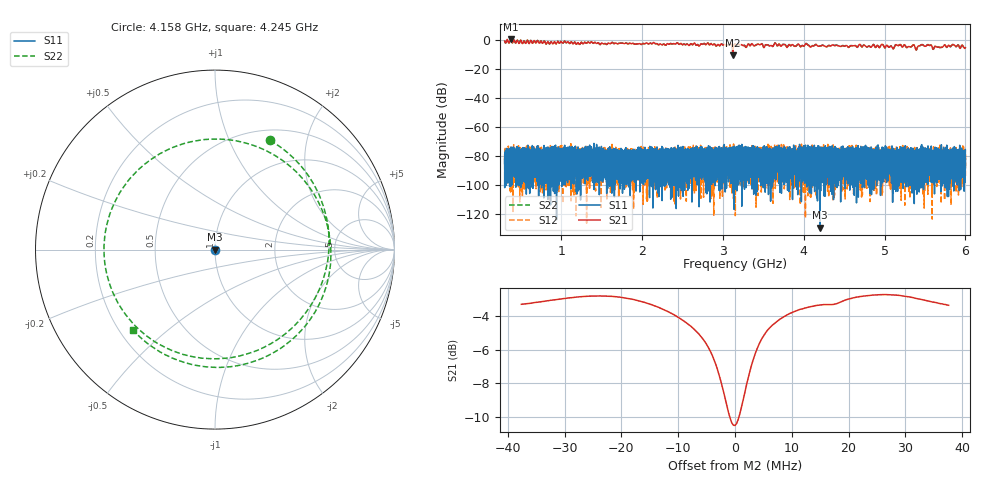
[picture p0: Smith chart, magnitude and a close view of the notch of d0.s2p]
!Agilent Technologies,N5230C,SG49000117,A.08.50.07
!Agilent N5230C: A.08.50.07
!Date: Sunday, March 17, 2024 02:16:47
!Correction: S11(Off)
!S21(Off)
!S12(Off)
!S22(Off)
!S2P File: Measurements: S11, S21, S12, S22:
# Hz S  RI  R 50
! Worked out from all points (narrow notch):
!   20001 points, 300 MHz to 6 GHz, reference 50 ohm
!   highest |S21| = 0.48 dB at 374.1 MHz (marker M1); lowest = -10.5 dB at 3.123 GHz (marker M2)
!   notch at M2: 7.2 dB deep, 6.28 MHz wide at half that depth
!   lowest |S11| = -129.2 dB at 4.201 GHz (marker M3), VSWR 1.00, Z = 50 + j2.82e-05 ohm
!   |S11| at or under -10 dB: start of sweep to end of sweep
!   |S22| runs from -10.5 to 0.5 dB; largest |S21 - S12| = 1.1
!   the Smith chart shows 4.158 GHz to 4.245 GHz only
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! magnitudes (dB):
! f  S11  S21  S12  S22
! 300 MHz  -85.0  -0.9  -82.5  -0.8
! 374.1 MHz  -78.2  0.5  -82.1  0.5
! 1.25 GHz  -89.0  -1.7  -80.5  -1.7
! 2.2 GHz  -79.4  -3.4  -88.3  -3.3
! 2.831 GHz  -81.5  -3.4  -74.3  -3.3
! 3.123 GHz  -85.6  -10.5  -88.4  -10.5
! 3.15 GHz  -80.1  -2.7  -77.4  -2.7
! 3.598 GHz  -81.3  -3.9  -81.1  -3.8
! 3.663 GHz  -77.9  -3.5  -78.5  -3.4
! 3.979 GHz  -81.1  -4.0  -76.1  -3.9
! 4.038 GHz  -87.5  -2.9  -84.2  -2.8
! 4.1 GHz  -93.1  -4.3  -81.5  -4.2
! 4.201 GHz  -129.2  -4.3  -87.3  -4.2
! 5.05 GHz  -76.2  -5.0  -82.4  -4.9
! 5.099 GHz  -86.0  -5.8  -83.6  -5.7
! 5.172 GHz  -90.2  -4.0  -94.1  -3.9
! 5.401 GHz  -82.1  -6.0  -95.1  -6.0
! 5.449 GHz  -95.6  -3.6  -89.4  -3.7
! 5.552 GHz  -84.8  -3.8  -80.6  -3.8
! 5.692 GHz  -80.0  -5.3  -74.7  -5.3
! 5.85 GHz  -76.9  -3.3  -87.0  -3.3
! 6 GHz  -82.1  -5.4  -86.6  -5.5
